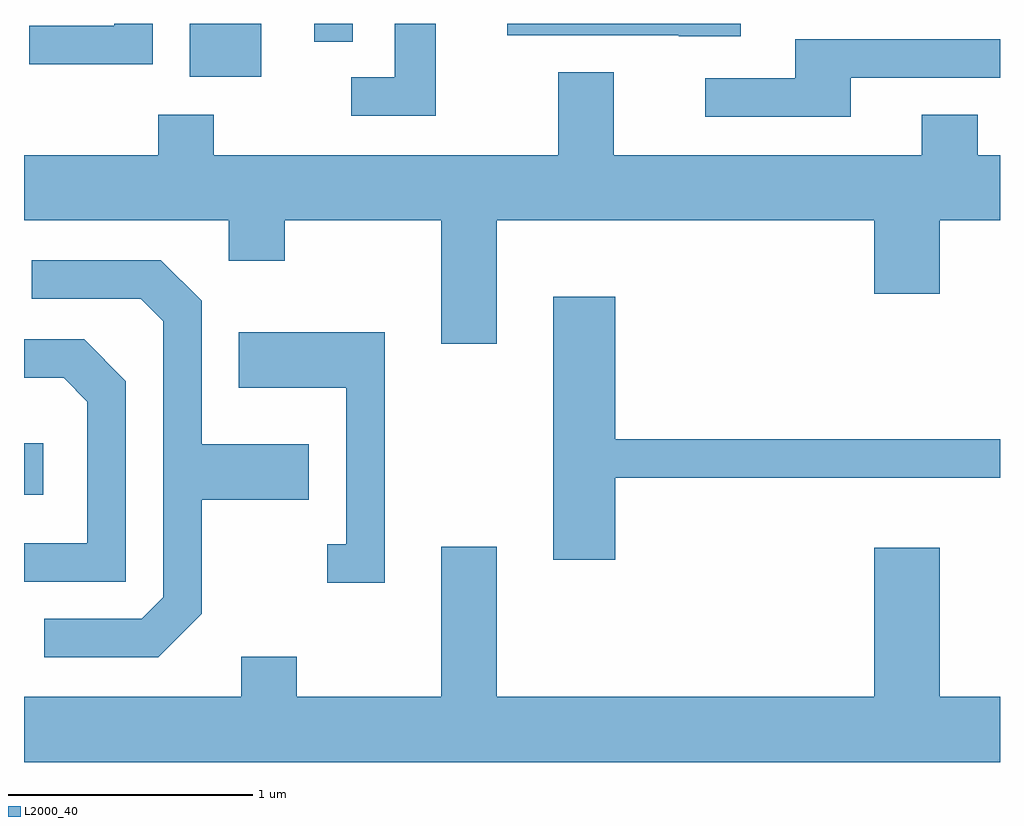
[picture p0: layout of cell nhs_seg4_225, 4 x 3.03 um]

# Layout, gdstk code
import gdstk
lib = gdstk.Library(unit=1e-6, precision=1e-09)
def R(c, l, rs):  # rectangles x0, y0, x1, y1
    for r in rs: c.add(gdstk.rectangle(r[:2], r[2:], *l))
def P(c, l, *ps):  # polygons
    for p in ps: c.add(gdstk.Polygon(p, *l))
L2000_40 = (2000, 40)

nhs_seg4_225 = lib.new_cell('nhs_seg4_225')
R(nhs_seg4_225, L2000_40, [(191.611,1298.051,191.689,1298.264), (192.291,1299.766,192.584,1299.982), (192.801,1299.908,192.959,1299.982)])
P(nhs_seg4_225, L2000_40, [(193.299,1299.982),(193.131,1299.982),(193.131,1299.764),(192.953,1299.764),(192.953,1299.606),(193.299,1299.606)],
  [(192.139,1299.982),(191.981,1299.982),(191.981,1299.974),(191.633,1299.974),(191.633,1299.816),(192.139,1299.816)],
  [(194.549,1299.982),(193.591,1299.982),(193.591,1299.936),(194.295,1299.936),(194.295,1299.931),(194.549,1299.931)],
  [(194.999,1299.761),(195.611,1299.761),(195.611,1299.919),(194.771,1299.919),(194.771,1299.759),(194.403,1299.759),(194.403,1299.601),(194.999,1299.601)],
  [(193.549,1299.176),(195.096,1299.176),(195.096,1298.876),(195.364,1298.876),(195.364,1299.176),(195.611,1299.176),(195.611,1299.444),(195.519,1299.444),(195.519,1299.609),(195.291,1299.609),(195.291,1299.444),(194.029,1299.444),(194.029,1299.784),(193.801,1299.784),(193.801,1299.444),(192.389,1299.444),(192.389,1299.609),(192.161,1299.609),(192.161,1299.444),(191.611,1299.444),(191.611,1299.176),(192.451,1299.176),(192.451,1299.011),(192.679,1299.011),(192.679,1299.176),(193.321,1299.176),(193.321,1298.671),(193.549,1298.671)],
  [(192.339,1297.564),(192.339,1298.031),(192.779,1298.031),(192.779,1298.259),(192.339,1298.259),(192.339,1298.847),(192.172,1299.014),(191.643,1299.014),(191.643,1298.856),(192.089,1298.856),(192.181,1298.764),(192.181,1297.632),(192.094,1297.544),(191.693,1297.544),(191.693,1297.386),(192.162,1297.386)],
  [(194.034,1298.121),(195.611,1298.121),(195.611,1298.279),(194.034,1298.279),(194.034,1298.864),(193.781,1298.864),(193.781,1297.786),(194.034,1297.786)],
  [(193.089,1298.719),(192.491,1298.719),(192.491,1298.491),(192.931,1298.491),(192.931,1297.849),(192.853,1297.849),(192.853,1297.691),(193.089,1297.691)],
  [(192.029,1298.517),(191.857,1298.689),(191.611,1298.689),(191.611,1298.531),(191.774,1298.531),(191.871,1298.434),(191.871,1297.854),(191.611,1297.854),(191.611,1297.696),(192.029,1297.696)],
  [(195.611,1297.224),(195.364,1297.224),(195.364,1297.834),(195.096,1297.834),(195.096,1297.224),(193.549,1297.224),(193.549,1297.839),(193.321,1297.839),(193.321,1297.224),(192.729,1297.224),(192.729,1297.389),(192.501,1297.389),(192.501,1297.224),(191.611,1297.224),(191.611,1296.956),(195.611,1296.956)])

lib.write_gds('nhs_seg4_225.gds')
